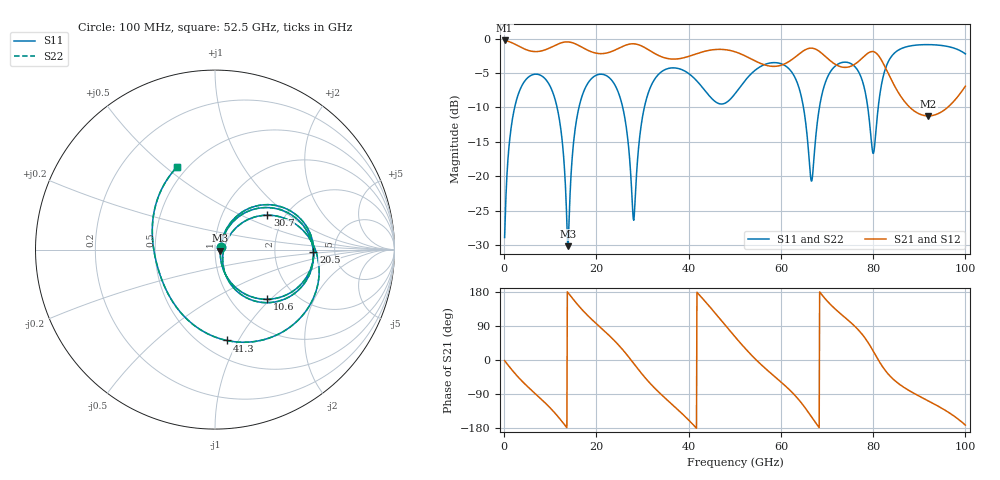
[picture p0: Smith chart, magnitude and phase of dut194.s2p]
! Touchstone file exported from HFSS 2026.1.0
!  File:  C:/ffzhzh/LocalFiles/Ansys_Project_Files/temp_train_TSV_RDL_194_1783656566_26216.aedt
!  Generated:  12:36:38 PM Jul 10, 2026
!  Design:  TSV_RDL
!  Project:  temp_train_TSV_RDL_194_1783656566_26216
! Variables:
!  h_bsmrdl = 3.78um
!  h_ox = 20um
!  h_rdl = 5um
!  h_sub = 61.84um
!  h_tmrdl = 2.14um
!  h_tsv = 61.84um
!  h_via = 3um
!  l_bsmrdl = 590.87um
!  l_sub = 4532.88um
!  l_tmrdl = 564.23um
!  m_sub = 200um
!  pitch = 41.13um
!  r_tsv = 8.24um
!  s_tmrdl = 10um
!  w_bsmrdl = 10.98um
!  w_sub = 500um
!  w_tmrdl = 23.47um
!  x_tsv_center1 = 575.965um
!  x_tsv_center2 = 1177.815um
!  x_tsv_center3 = 1765.515um
!  x_tsv_center4 = 2367.365um
!  x_tsv_center5 = 2955.065um
!  x_tsv_center6 = 3556.915um
# GHz S MA R 50.000000
! Terminal data exported
! Port[1] = TM_RDL1_1_T1
! Port[2] = TM_RDL5_1_T1
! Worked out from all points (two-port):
!   1000 points, 100 MHz to 100 GHz, reference 50 ohm
!   highest |S21| = -0.28 dB at 100 MHz (marker M1); lowest = -11.2 dB at 92 GHz (marker M2)
!   |S21| within 3 dB of the highest: start of sweep to 54.47 GHz; 61.9 GHz to 70.8 GHz (8.897 GHz wide, 13.4 % of centre) (the widest 2 of 3)
!   lowest |S11| = -30.2 dB at 13.8 GHz (marker M3), VSWR 1.06, Z = 53.1 - j0.683 ohm
!   |S11| at or under -10 dB: 11.47 GHz to 16.22 GHz (4.747 GHz wide, 34.3 % of centre); 25.7 GHz to 30.4 GHz (4.694 GHz wide, 16.7 % of centre); 64.89 GHz to 68.35 GHz (3.463 GHz wide, 5.2 % of centre) (the widest 3 of 5)
!   |S22| runs from -30.2 to -0.9 dB; largest |S21 - S12| = 1.3e-13
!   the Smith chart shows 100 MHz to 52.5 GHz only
!   S11 on the Smith chart (normalised r, x): 100 MHz: 1.07, +0.03; 10.6 GHz: 1.45, -0.96; 20.5 GHz: 3.42, -0.14; 30.7 GHz: 1.63, +0.71; 41.3 GHz: 0.66, -0.90; 52.5 GHz: 0.44, +0.55
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0.1  0.03581 26.0  0.9682 -1.7  0.9682 -1.7  0.03581 26.0
! Gamma 0 0 0 0
! Port Impedance 50 0 50 0
3.3  0.4136 36.7  0.8746 -48.4  0.8746 -48.4  0.4136 36.7
10.6  0.4015 -43.6  0.8774 -134.5  0.8774 -134.5  0.4015 -43.6
13.8  0.03097 -12.0  0.9449 178.3  0.9449 178.3  0.03083 -12.0
16.8  0.3735 38.8  0.8669 134.1  0.8669 134.1  0.3735 38.9
20.5  0.5485 -1.5  0.7777 90.1  0.7777 90.1  0.5485 -1.5
25.4  0.3475 -54.0  0.8671 31.4  0.8671 31.4  0.3475 -54.0
28.1  0.04779 -6.3  0.9155 -9.3  0.9155 -9.3  0.04826 -6.3
30.7  0.3489 33.4  0.8511 -48.7  0.8511 -48.7  0.3489 33.3
33.4  0.5462 3.2  0.755 -83.4  0.755 -83.4  0.5462 3.1
41.3  0.5107 -82.5  0.7665 -174.8  0.7665 -174.8  0.5108 -82.6
46.4  0.3381 -153.6  0.8341 114.3  0.8341 114.3  0.3381 -153.8
50.1  0.3988 148.5  0.8003 60.6  0.8003 60.6  0.3989 148.3
52.5  0.5073 114.4  0.7404 27.3  0.7404 27.3  0.5074 114.4
60.8  0.6383 25.0  0.6537 -66.6  0.6537 -66.6  0.6383 25.1
66.7  0.09237 34.7  0.8513 -151.2  0.8513 -151.2  0.09375 34.7
70.2  0.5322 56.3  0.7127 153.5  0.7127 153.5  0.5324 56.2
77  0.5601 -6.8  0.6894 76.7  0.6894 76.7  0.56 -6.9
80  0.146 18.0  0.8033 23.9  0.8033 23.9  0.1454 18.0
83.4  0.6911 40.7  0.5461 -38.9  0.5461 -38.9  0.6909 40.8
92  0.903 -18.5  0.274 -108.2  0.274 -108.2  0.9029 -18.4
100  0.7731 -75.7  0.4505 -171.9  0.4505 -171.9  0.773 -75.6
